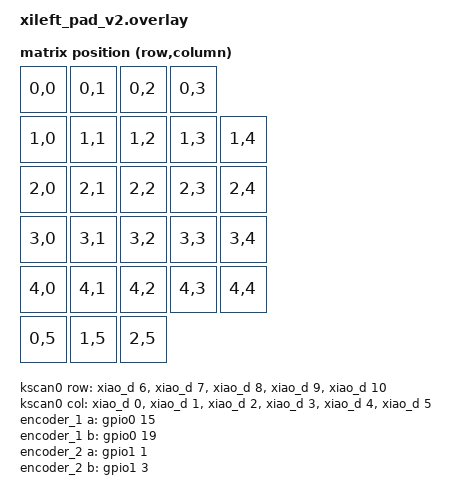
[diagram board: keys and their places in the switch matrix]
/*
 * Copyright (c) 2026 Xiphelier
 * SPDX-License-Identifier: MIT
 *
 * xileft pad v2 ― 次回発注基板向けの「正しい」ピン割り当て（27 キー + エンコーダ 3 個）
 * コントローラ: Seeed XIAO nRF52840 Plus (board: xiao_ble//zmk)
 *
 * v1 からの改善（妥協ゼロ構成）:
 *   - ROW5（スイッチ実体のなかった行）を廃止 -> 必要ピンが 17 本になり、
 *     NFC ピン (P0.09/P0.10) も電池ピン (P0.31) も一切使わない
 *   - 電池残量レポートが標準で機能する（P0.31 を空けてあるため）
 *   - uicr の NFC 開放設定も不要になった
 *   - シルク/回路図は D 番号ではなく P 番号 (P0.xx/P1.xx) で管理すること
 *     （Seeed の D17/D19 表記はソースによって食い違うため）
 *
 * ピン割り当て（P 番号が正、D 番号は参考）:
 *   COL0..COL5 = P0.02 P0.03 P0.28 P0.29 P0.04 P0.05   (D0..D5)
 *   ROW0..ROW4 = P1.11 P1.12 P1.13 P1.14 P1.15         (D6..D10)
 *   ENC1 A/B   = P0.15 / P0.19                          (D11 / D12)
 *   ENC2 A/B   = P1.01 / P1.03                          (D13 / SCK1)
 *   ENC3 A/B   = P1.05 / P1.07                          (MISO1 / MOSI1)
 *   未接続     = P0.31 (電池読み取り用に空ける),
 *                P0.09 / P0.10 (NFC, 予備パッドとして引き出し推奨)
 */

#include <dt-bindings/zmk/matrix_transform.h>
#include "../xileft_pad/xileft_pad-layouts.dtsi"

&physical_layout0 {
    transform = <&default_transform>;
};

/ {
    chosen {
        zmk,kscan = &kscan0;
        zmk,physical-layout = &physical_layout0;
    };

    kscan0: kscan {
        compatible = "zmk,kscan-gpio-matrix";
        diode-direction = "col2row";
        wakeup-source;

        col-gpios
            = <&xiao_d 0 GPIO_ACTIVE_HIGH>      // COL0  P0.02  (D0)
            , <&xiao_d 1 GPIO_ACTIVE_HIGH>      // COL1  P0.03  (D1)
            , <&xiao_d 2 GPIO_ACTIVE_HIGH>      // COL2  P0.28  (D2)
            , <&xiao_d 3 GPIO_ACTIVE_HIGH>      // COL3  P0.29  (D3)
            , <&xiao_d 4 GPIO_ACTIVE_HIGH>      // COL4  P0.04  (D4)
            , <&xiao_d 5 GPIO_ACTIVE_HIGH>      // COL5  P0.05  (D5)
            ;

        row-gpios
            = <&xiao_d 6  (GPIO_ACTIVE_HIGH | GPIO_PULL_DOWN)>   // ROW0  P1.11  (D6)
            , <&xiao_d 7  (GPIO_ACTIVE_HIGH | GPIO_PULL_DOWN)>   // ROW1  P1.12  (D7)
            , <&xiao_d 8  (GPIO_ACTIVE_HIGH | GPIO_PULL_DOWN)>   // ROW2  P1.13  (D8)
            , <&xiao_d 9  (GPIO_ACTIVE_HIGH | GPIO_PULL_DOWN)>   // ROW3  P1.14  (D9)
            , <&xiao_d 10 (GPIO_ACTIVE_HIGH | GPIO_PULL_DOWN)>   // ROW4  P1.15  (D10)
            ;
    };

    /* 論理配置は v1 と同一（QMK 版 LAYOUT の並び順、ROW5 の4キーを除く 27 キー） */
    default_transform: keymap_transform0 {
        compatible = "zmk,matrix-transform";
        columns = <6>;
        rows = <5>;
        map = <
        //  row 0
            RC(0,0) RC(0,1) RC(0,2) RC(0,3)
        //  row 1
            RC(1,0) RC(1,1) RC(1,2) RC(1,3) RC(1,4)
        //  row 2
            RC(2,0) RC(2,1) RC(2,2) RC(2,3) RC(2,4)
        //  row 3
            RC(3,0) RC(3,1) RC(3,2) RC(3,3) RC(3,4)
        //  row 4
            RC(4,0) RC(4,1) RC(4,2) RC(4,3) RC(4,4)
        //  levers
            RC(0,5) RC(1,5) RC(2,5)
        >;
    };

    /*
     * エンコーダは全て通常 GPIO（NFC/電池ピンなし）。
     * A/B は基板側でエンコーダのデータシートどおりに配線すること
     * （v1 のような A/B 入れ替えを不要にする）。
     */
    encoder_1: encoder_1 {
        compatible = "alps,ec11";
        a-gpios = <&gpio0 15 (GPIO_ACTIVE_HIGH | GPIO_PULL_UP)>;  // ENC1_A  P0.15  (D11)
        b-gpios = <&gpio0 19 (GPIO_ACTIVE_HIGH | GPIO_PULL_UP)>;  // ENC1_B  P0.19  (D12)
        steps = <80>;
        status = "okay";
    };

    encoder_2: encoder_2 {
        compatible = "alps,ec11";
        a-gpios = <&gpio1 1 (GPIO_ACTIVE_HIGH | GPIO_PULL_UP)>;   // ENC2_A  P1.01  (D13)
        b-gpios = <&gpio1 3 (GPIO_ACTIVE_HIGH | GPIO_PULL_UP)>;   // ENC2_B  P1.03  (SCK1)
        steps = <80>;
        status = "okay";
    };

    encoder_3: encoder_3 {
        compatible = "alps,ec11";
        a-gpios = <&gpio1 5 (GPIO_ACTIVE_HIGH | GPIO_PULL_UP)>;   // ENC3_A  P1.05  (MISO1)
        b-gpios = <&gpio1 7 (GPIO_ACTIVE_HIGH | GPIO_PULL_UP)>;   // ENC3_B  P1.07  (MOSI1)
        steps = <80>;
        status = "okay";
    };

    sensors: sensors {
        compatible = "zmk,keymap-sensors";
        sensors = <&encoder_1 &encoder_2 &encoder_3>;
        triggers-per-rotation = <20>;

        enc1_config { triggers-per-rotation = <20>; };
        enc2_config { triggers-per-rotation = <40>; };
        enc3_config { triggers-per-rotation = <40>; };
    };

    /*
     * XIAO オンボードの RGB LED を zmk-rgbled-widget に渡す。
     * 実体は xiao_ble のボード定義にある gpio-leds ノードの子:
     *   led0 = 赤 P0.26 / led1 = 緑 P0.30 / led2 = 青 P0.06（すべてアクティブ Low）
     * モジュールはこの3つの alias を BUILD_ASSERT で必須にしている。
     *
     * ※ 以前ここには EXT_POWER (zmk,ext-power-generic) で緑 LED を常時点灯させる
     *   電源インジケータがあったが、同じ P0.30 を widget と取り合うため撤去した。
     *   起動時の点灯は widget の電池レベル表示が担う（conf の BATTERY_BLINK_MS）。
     */
    aliases {
        led-red = &led0;
        led-green = &led1;
        led-blue = &led2;
    };
};

/*
 * v2 は NFC ピンを使わないため、uicr の nfct-pins-as-gpios 設定は不要。
 * &vbatt も無効化しない。
 * P0.31 を基板側で空けてあるので、電池残量レポートがそのまま機能する。
 */

/* 既定 pinctrl が COL4/5 (P0.04/05)・ROW2-4 (P1.13-15) と重なるため予防的に無効化 */
&xiao_i2c {
    status = "disabled";
};

&xiao_spi {
    status = "disabled";
};
